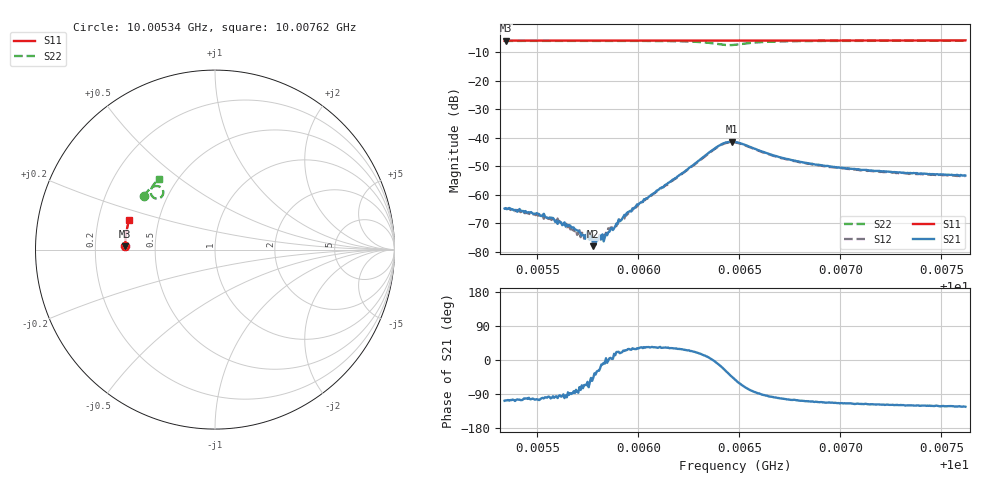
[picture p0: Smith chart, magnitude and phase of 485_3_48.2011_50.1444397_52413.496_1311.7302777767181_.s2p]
#  HZ  S  RI  R  50.00
! Rohde & Schwarz Vector Network Analyzer
! Rohde-Schwarz,ZNB20-2Port,1311601062101988,3.16
! Created: UTC 3/20/2024, 11:57:50 AM
! freq[Hz]  re:S11  im:S11  re:S21  im:S21  re:S12  im:S12  re:S22  im:S22
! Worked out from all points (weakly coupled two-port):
!   401 points, 10.00534 GHz to 10.00762 GHz, reference 50 ohm
!   highest |S21| = -41.40 dB at 10.00646 GHz (marker M1); lowest = -78.0 dB at 10.00578 GHz (marker M2)
!   lowest |S11| = -6.0 dB at 10.00534 GHz (marker M3), VSWR 3.01, Z = 16.6 + j0.857 ohm
!   |S11| at or under -10 dB: nowhere
!   |S22| runs from -7.6 to -6.0 dB; largest |S21 - S12| = 0.00052
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1.0005338e10  -0.5005 0.0189  -0.000173 -0.000548  -0.000133 -0.000567  -0.3969 0.297
1.0005344e10  -0.5003 0.0193  -0.000166 -0.00056  -0.000128 -0.000552  -0.3967 0.2974
1.0005498e10  -0.5002 0.0294  -0.00011 -0.000464  -7.21e-05 -0.000453  -0.3904 0.3066
1.0005612e10  -0.4999 0.0368  -1.77e-05 -0.00033  -2.85e-05 -0.000342  -0.3853 0.3134
1.0005669e10  -0.4999 0.0406  1.74e-06 -0.000267  2.62e-05 -0.000247  -0.3825 0.3168
1.000572e10  -0.4996 0.0438  7.58e-05 -0.000176  7.68e-05 -0.000203  -0.38 0.32
1.000576e10  -0.4995 0.0465  8.54e-05 -0.000138  0.000105 -0.000153  -0.3779 0.3224
1.0005766e10  -0.4994 0.0469  0.000129 -0.00014  9.67e-05 -0.000134  -0.3777 0.3227
1.0005777e10  -0.4993 0.0477  8.67e-05 -9.13e-05  0.000125 -0.000153  -0.3769 0.3235
1.0005789e10  -0.4994 0.0485  0.000104 -8.3e-05  0.000144 -0.000101  -0.3763 0.3243
1.0005811e10  -0.4992 0.0498  0.000181 -7.03e-05  0.000163 -2.08e-05  -0.3751 0.3257
1.0005834e10  -0.4991 0.0513  0.000178 -2.93e-05  0.000187 -3.42e-05  -0.3736 0.3271
1.0005863e10  -0.4989 0.0531  0.000246 2.42e-05  0.000263 4.13e-05  -0.3719 0.3289
1.0005943e10  -0.4985 0.0584  0.000431 0.000209  0.000388 0.00021  -0.3669 0.3342
1.0006102e10  -0.4975 0.0686  0.00104 0.000685  0.000993 0.000698  -0.3531 0.3452
1.0006387e10  -0.4947 0.0869  0.00676 -0.000878  0.00666 -0.00052  -0.2907 0.3316
1.0006462e10  -0.4939 0.0912  0.00617 -0.00586  0.00634 -0.00541  -0.3042 0.2893
1.0006479e10  -0.4936 0.092  0.00517 -0.00664  0.00545 -0.00621  -0.3145 0.2849
1.0006701e10  -0.492 0.1064  -0.000882 -0.00446  -0.000633 -0.00445  -0.3576 0.3291
1.0006861e10  -0.4901 0.1167  -0.00116 -0.0033  -0.000999 -0.00324  -0.3507 0.3486
1.0007243e10  -0.4846 0.1408  -0.0012 -0.00223  -0.00106 -0.00223  -0.3304 0.3753
1.0007619e10  -0.478 0.164  -0.0012 -0.00182  -0.00106 -0.00185  -0.311 0.3945
